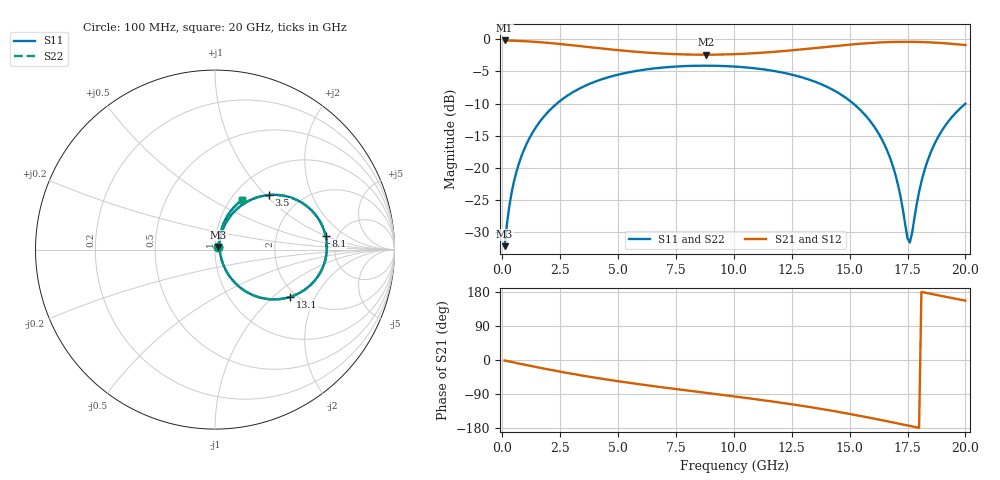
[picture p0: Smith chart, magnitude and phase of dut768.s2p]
! Touchstone file exported from HFSS 2026.1.0
!  File:  C:/ffzhzh/LocalFiles/Ansys_Project_Files/temp_train_TSV_RDL_768_1783208462_43440.aedt
!  Generated:  07:52:09 AM Jul  5, 2026
!  Design:  TSV_RDL
!  Project:  temp_train_TSV_RDL_768_1783208462_43440
! Variables:
!  h_bsmrdl = 2.82um
!  h_ox = 20um
!  h_rdl = 5um
!  h_sub = 59.26um
!  h_tmrdl = 4.34um
!  h_tsv = 59.26um
!  h_via = 3um
!  l_bsmrdl = 374.31um
!  l_sub = 3371.55um
!  l_tmrdl = 438.11um
!  m_sub = 200um
!  pitch = 57.09um
!  r_tsv = 13.73um
!  s_tmrdl = 10um
!  w_bsmrdl = 18.87um
!  w_sub = 500um
!  w_tmrdl = 13.19um
!  x_tsv_center1 = 444.705um
!  x_tsv_center2 = 837.885um
!  x_tsv_center3 = 1289.185um
!  x_tsv_center4 = 1682.365um
!  x_tsv_center5 = 2133.665um
!  x_tsv_center6 = 2526.845um
# GHz S MA R 50.000000
! Terminal data exported
! Port[1] = TM_RDL1_1_T1
! Port[2] = TM_RDL5_1_T1
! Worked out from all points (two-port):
!   200 points, 100 MHz to 20 GHz, reference 50 ohm
!   highest |S21| = -0.17 dB at 100 MHz (marker M1); lowest = -2.4 dB at 8.8 GHz (marker M2)
!   |S21| within 3 dB of the highest: start of sweep to end of sweep
!   lowest |S11| = -32.2 dB at 100 MHz (marker M3), VSWR 1.05, Z = 51.9 + j1.55 ohm
!   |S11| at or under -10 dB: start of sweep to 2.36 GHz; 15.16 GHz to end of sweep
!   |S22| runs from -32.2 to -4.1 dB; largest |S21 - S12| = 1.7e-14
!   S11 on the Smith chart (normalised r, x): 100 MHz: 1.04, +0.03; 3.5 GHz: 1.41, +1.05; 8.1 GHz: 4.01, +1.01; 13.1 GHz: 1.86, -1.30; 20 GHz: 1.13, +0.69
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0.1  0.02442 37.6  0.9809 -1.3  0.9809 -1.3  0.02442 37.6
! Gamma 0 0 0 0
! Port Impedance 50 0 50 0
0.3  0.0496 62.4  0.9791 -4.0  0.9791 -4.0  0.0496 62.4
0.5  0.07742 67.9  0.9764 -6.5  0.9764 -6.5  0.07742 67.9
1.1  0.1599 67.9  0.965 -14.1  0.965 -14.1  0.1599 67.9
2.1  0.2866 59.2  0.9351 -26.2  0.9351 -26.2  0.2866 59.2
3.5  0.4281 45.3  0.8803 -41.6  0.8803 -41.6  0.4281 45.3
6.8  0.6 17.0  0.7773 -71.2  0.7773 -71.2  0.6 17.0
8.1  0.6211 7.2  0.7615 -81.3  0.7615 -81.3  0.6211 7.2
8.8  0.6237 2.0  0.7595 -86.7  0.7595 -86.7  0.6237 2.0
10.1  0.6127 -7.7  0.7678 -96.7  0.7678 -96.7  0.6127 -7.7
13.1  0.4957 -32.1  0.8415 -122.5  0.8415 -122.5  0.4957 -32.1
13.4  0.4752 -34.8  0.852 -125.4  0.852 -125.4  0.4753 -34.8
15.4  0.2889 -53.7  0.9228 -146.9  0.9228 -146.9  0.289 -53.7
16.1  0.2039 -59.7  0.9419 -155.2  0.9419 -155.2  0.204 -59.7
16.7  0.1253 -62.3  0.9529 -162.7  0.9529 -162.7  0.1254 -62.3
17.1  0.07213 -58.1  0.9568 -167.7  0.9568 -167.7  0.07215 -58.1
17.5  0.02817 -17.3  0.9578 -172.7  0.9578 -172.7  0.02821 -17.2
17.6  0.02608 11.3  0.9576 -174.0  0.9576 -174.0  0.02612 11.3
18.1  0.07769 69.0  0.9536 179.7  0.9536 179.7  0.07771 69.0
18.5  0.1309 72.2  0.9472 174.7  0.9472 174.7  0.1309 72.2
19.1  0.2088 69.3  0.9329 167.3  0.9329 167.3  0.2088 69.3
20  0.3151 61.4  0.9034 156.8  0.9034 156.8  0.3151 61.4
